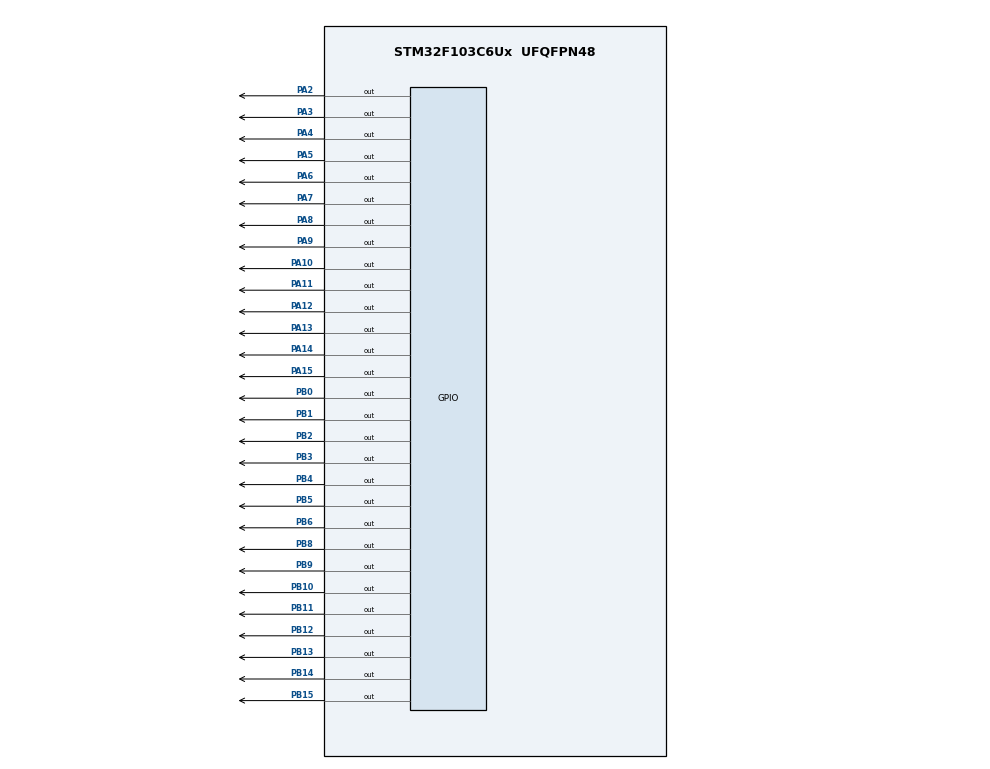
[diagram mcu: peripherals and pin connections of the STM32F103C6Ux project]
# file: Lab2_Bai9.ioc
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Mcu.Family=STM32F1
Mcu.Name=STM32F103C6Ux
Mcu.Package=UFQFPN48
NVIC.PriorityGroup=NVIC_PRIORITYGROUP_4
NVIC.TIM2_IRQn=true\:0\:0\:false\:false\:true\:true\:true
PA10.Signal=GPIO_Output
PA11.Signal=GPIO_Output
PA12.Signal=GPIO_Output
PA13.Signal=GPIO_Output
PA14.Signal=GPIO_Output
PA15.Signal=GPIO_Output
PA2.Signal=GPIO_Output
PA3.Signal=GPIO_Output
PA4.Signal=GPIO_Output
PA5.Signal=GPIO_Output
PA6.Signal=GPIO_Output
PA7.Signal=GPIO_Output
PA8.Signal=GPIO_Output
PA9.Signal=GPIO_Output
PB0.Signal=GPIO_Output
PB1.Signal=GPIO_Output
PB10.Signal=GPIO_Output
PB11.Signal=GPIO_Output
PB12.Signal=GPIO_Output
PB13.Signal=GPIO_Output
PB14.Signal=GPIO_Output
PB15.Signal=GPIO_Output
PB2.Signal=GPIO_Output
PB3.Signal=GPIO_Output
PB4.Signal=GPIO_Output
PB5.Signal=GPIO_Output
PB6.Signal=GPIO_Output
PB8.Signal=GPIO_Output
PB9.Signal=GPIO_Output
ProjectManager.HeapSize=0x200
ProjectManager.StackSize=0x400
ProjectManager.TargetToolchain=STM32CubeIDE
RCC.APB1Freq_Value=8000000
RCC.APB2Freq_Value=8000000
TIM2.Period=9
TIM2.Prescaler=7999
VP_SYS_VS_ND.Mode=No_Debug
VP_TIM2_VS_ClockSourceINT.Mode=Internal
board=custom

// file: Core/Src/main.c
/* USER CODE BEGIN Header */
/**
  ******************************************************************************
  * @file           : main.c
  * @brief          : Main program body
  ******************************************************************************
  * @attention
  *
  * <h2><center>&copy; Copyright (c) 2023 STMicroelectronics.
  * All rights reserved.</center></h2>
  *
  * This software component is licensed by ST under BSD 3-Clause license,
  * the "License"; You may not use this file except in compliance with the
  * License. You may obtain a copy of the License at:
  *                        opensource.org/licenses/BSD-3-Clause
  *
  ******************************************************************************
  */
/* USER CODE END Header */
#include "main.h"

/* USER CODE BEGIN Includes */
#include "sofware_timer.h"
/* USER CODE END Includes */

TIM_HandleTypeDef htim2;

void SystemClock_Config(void);
static void MX_GPIO_Init(void);
static void MX_TIM2_Init(void);

/* USER CODE BEGIN 0 */
const int MAX_LED_MATRIX = 8;
int index_led_matrix = 0;
uint8_t matrix_buffer[8] = {0b00011000 ,0b00111100 ,0b01100110 ,0b01100110 ,0b01111110 ,0b01111110 ,0b01100110 ,0b01100110};

void displayLEDMatrix(uint8_t matrix){
	HAL_GPIO_WritePin(GPIOA , GPIO_PIN_2, ( matrix >> 0) & 0x01 );
	HAL_GPIO_WritePin(GPIOA , GPIO_PIN_3, ( matrix >> 1) & 0x01 );
	HAL_GPIO_WritePin(GPIOA , GPIO_PIN_10, ( matrix >> 2) & 0x01 );
	HAL_GPIO_WritePin(GPIOA , GPIO_PIN_11, ( matrix >> 3) & 0x01 );
	HAL_GPIO_WritePin(GPIOA , GPIO_PIN_12, ( matrix >> 4) & 0x01 );
	HAL_GPIO_WritePin(GPIOA , GPIO_PIN_13, ( matrix >> 5) & 0x01 );
	HAL_GPIO_WritePin(GPIOA , GPIO_PIN_14, ( matrix >> 6) & 0x01 );
	HAL_GPIO_WritePin(GPIOA , GPIO_PIN_15, ( matrix >> 7) & 0x01 );
}

void updateLEDMatrix(int index ){
	switch(index){
		case 0:
			HAL_GPIO_WritePin(GPIOB, GPIO_PIN_8, RESET);
			HAL_GPIO_WritePin(GPIOB, GPIO_PIN_9,SET);
			HAL_GPIO_WritePin(GPIOB, GPIO_PIN_10,SET);
			HAL_GPIO_WritePin(GPIOB, GPIO_PIN_11,SET);
			HAL_GPIO_WritePin(GPIOB, GPIO_PIN_12,SET);
			HAL_GPIO_WritePin(GPIOB, GPIO_PIN_13,SET);
			HAL_GPIO_WritePin(GPIOB, GPIO_PIN_14,SET);
			HAL_GPIO_WritePin(GPIOB, GPIO_PIN_15,SET);
			displayLEDMatrix(matrix_buffer[index]);
			break;
		case 1:
			HAL_GPIO_WritePin(GPIOB, GPIO_PIN_8, SET);
			HAL_GPIO_WritePin(GPIOB, GPIO_PIN_9,RESET);
			HAL_GPIO_WritePin(GPIOB, GPIO_PIN_10,SET);
			HAL_GPIO_WritePin(GPIOB, GPIO_PIN_11,SET);
			HAL_GPIO_WritePin(GPIOB, GPIO_PIN_12,SET);
			HAL_GPIO_WritePin(GPIOB, GPIO_PIN_13,SET);
			HAL_GPIO_WritePin(GPIOB, GPIO_PIN_14,SET);
			HAL_GPIO_WritePin(GPIOB, GPIO_PIN_15,SET);
			displayLEDMatrix(matrix_buffer[index]);
			break;
		case 2:
			HAL_GPIO_WritePin(GPIOB, GPIO_PIN_8, SET);
			HAL_GPIO_WritePin(GPIOB, GPIO_PIN_9,SET);
			HAL_GPIO_WritePin(GPIOB, GPIO_PIN_10,RESET);
			HAL_GPIO_WritePin(GPIOB, GPIO_PIN_11,SET);
			HAL_GPIO_WritePin(GPIOB, GPIO_PIN_12,SET);
			HAL_GPIO_WritePin(GPIOB, GPIO_PIN_13,SET);
			HAL_GPIO_WritePin(GPIOB, GPIO_PIN_14,SET);
			HAL_GPIO_WritePin(GPIOB, GPIO_PIN_15,SET);
			displayLEDMatrix(matrix_buffer[index]);
			break;
		case 3:
			HAL_GPIO_WritePin(GPIOB, GPIO_PIN_8, SET);
			HAL_GPIO_WritePin(GPIOB, GPIO_PIN_9,SET);
			HAL_GPIO_WritePin(GPIOB, GPIO_PIN_10,SET);
			HAL_GPIO_WritePin(GPIOB, GPIO_PIN_11,RESET);
			HAL_GPIO_WritePin(GPIOB, GPIO_PIN_12,SET);
			HAL_GPIO_WritePin(GPIOB, GPIO_PIN_13,SET);
			HAL_GPIO_WritePin(GPIOB, GPIO_PIN_14,SET);
			HAL_GPIO_WritePin(GPIOB, GPIO_PIN_15,SET);
			displayLEDMatrix(matrix_buffer[index]);
			break;
		case 4:
			HAL_GPIO_WritePin(GPIOB, GPIO_PIN_8, SET);
			HAL_GPIO_WritePin(GPIOB, GPIO_PIN_9,SET);
			HAL_GPIO_WritePin(GPIOB, GPIO_PIN_10,SET);
			HAL_GPIO_WritePin(GPIOB, GPIO_PIN_11,SET);
			HAL_GPIO_WritePin(GPIOB, GPIO_PIN_12,RESET);
			HAL_GPIO_WritePin(GPIOB, GPIO_PIN_13,SET);
			HAL_GPIO_WritePin(GPIOB, GPIO_PIN_14,SET);
			HAL_GPIO_WritePin(GPIOB, GPIO_PIN_15,SET);
			displayLEDMatrix(matrix_buffer[index]);
			break;
		case 5:
			HAL_GPIO_WritePin(GPIOB, GPIO_PIN_8, SET);
			HAL_GPIO_WritePin(GPIOB, GPIO_PIN_9,SET);
			HAL_GPIO_WritePin(GPIOB, GPIO_PIN_10,SET);
			HAL_GPIO_WritePin(GPIOB, GPIO_PIN_11,SET);
			HAL_GPIO_WritePin(GPIOB, GPIO_PIN_12,SET);
			HAL_GPIO_WritePin(GPIOB, GPIO_PIN_13,RESET);
			HAL_GPIO_WritePin(GPIOB, GPIO_PIN_14,SET);
			HAL_GPIO_WritePin(GPIOB, GPIO_PIN_15,SET);
			displayLEDMatrix(matrix_buffer[index]);
			break;
		case 6:
			HAL_GPIO_WritePin(GPIOB, GPIO_PIN_8, SET);
			HAL_GPIO_WritePin(GPIOB, GPIO_PIN_9,SET);
			HAL_GPIO_WritePin(GPIOB, GPIO_PIN_10,SET);
			HAL_GPIO_WritePin(GPIOB, GPIO_PIN_11,SET);
			HAL_GPIO_WritePin(GPIOB, GPIO_PIN_12,SET);
			HAL_GPIO_WritePin(GPIOB, GPIO_PIN_13,SET);
			HAL_GPIO_WritePin(GPIOB, GPIO_PIN_14,RESET);
			HAL_GPIO_WritePin(GPIOB, GPIO_PIN_15,SET);
			break;
		case 7:
			HAL_GPIO_WritePin(GPIOB, GPIO_PIN_8, SET);
			HAL_GPIO_WritePin(GPIOB, GPIO_PIN_9,SET);
			HAL_GPIO_WritePin(GPIOB, GPIO_PIN_10,SET);
			HAL_GPIO_WritePin(GPIOB, GPIO_PIN_11,SET);
			HAL_GPIO_WritePin(GPIOB, GPIO_PIN_12,SET);
			HAL_GPIO_WritePin(GPIOB, GPIO_PIN_13,SET);
			HAL_GPIO_WritePin(GPIOB, GPIO_PIN_14,SET);
			HAL_GPIO_WritePin(GPIOB, GPIO_PIN_15,RESET);
			displayLEDMatrix(matrix_buffer[index]);
			break;
	}
}

void shiftLeft(){
	uint8_t check;
	for (int i = 0; i < 8; i++){
		check = matrix_buffer[i] >> 7;
		matrix_buffer[i] = matrix_buffer[i] << 1;
		matrix_buffer[i] = matrix_buffer[i] | check;
	}
}
/* USER CODE END 0 */

int main(void)
{

  /* MCU Configuration--------------------------------------------------------*/

  /* Reset of all peripherals, Initializes the Flash interface and the Systick. */
  HAL_Init();

  /* Configure the system clock */
  SystemClock_Config();

  /* Initialize all configured peripherals */
  MX_GPIO_Init();
  MX_TIM2_Init();
  /* USER CODE BEGIN 2 */
  HAL_TIM_Base_Start_IT(&htim2);
  /* USER CODE END 2 */

  /* Infinite loop */
  /* USER CODE BEGIN WHILE */
  setTimer1(100);
  int rowEn = 0;
  while (1)
  {
	  if(rowEn <=7){
		  updateLEDMatrix(rowEn);
		  rowEn++;
		  setTimer1(10);
		  if(rowEn > 7){
			  rowEn = 0;
			  shiftLeft();
			  setTimer1(100);
		  }
	  }
    /* USER CODE END WHILE */

  }
}

void SystemClock_Config(void)
{
  RCC_OscInitTypeDef RCC_OscInitStruct = {0};
  RCC_ClkInitTypeDef RCC_ClkInitStruct = {0};

  /** Initializes the RCC Oscillators according to the specified parameters
  * in the RCC_OscInitTypeDef structure.
  */
  RCC_OscInitStruct.OscillatorType = RCC_OSCILLATORTYPE_HSI;
  RCC_OscInitStruct.HSIState = RCC_HSI_ON;
  RCC_OscInitStruct.HSICalibrationValue = RCC_HSICALIBRATION_DEFAULT;
  RCC_OscInitStruct.PLL.PLLState = RCC_PLL_NONE;
  if (HAL_RCC_OscConfig(&RCC_OscInitStruct) != HAL_OK)
  {
    Error_Handler();
  }
  /** Initializes the CPU, AHB and APB buses clocks
  */
  RCC_ClkInitStruct.ClockType = RCC_CLOCKTYPE_HCLK|RCC_CLOCKTYPE_SYSCLK
                              |RCC_CLOCKTYPE_PCLK1|RCC_CLOCKTYPE_PCLK2;
  RCC_ClkInitStruct.SYSCLKSource = RCC_SYSCLKSOURCE_HSI;
  RCC_ClkInitStruct.AHBCLKDivider = RCC_SYSCLK_DIV1;
  RCC_ClkInitStruct.APB1CLKDivider = RCC_HCLK_DIV1;
  RCC_ClkInitStruct.APB2CLKDivider = RCC_HCLK_DIV1;

  if (HAL_RCC_ClockConfig(&RCC_ClkInitStruct, FLASH_LATENCY_0) != HAL_OK)
  {
    Error_Handler();
  }
}

static void MX_TIM2_Init(void)
{

  TIM_ClockConfigTypeDef sClockSourceConfig = {0};
  TIM_MasterConfigTypeDef sMasterConfig = {0};

  htim2.Instance = TIM2;
  htim2.Init.Prescaler = 7999;
  htim2.Init.CounterMode = TIM_COUNTERMODE_UP;
  htim2.Init.Period = 9;
  htim2.Init.ClockDivision = TIM_CLOCKDIVISION_DIV1;
  htim2.Init.AutoReloadPreload = TIM_AUTORELOAD_PRELOAD_DISABLE;
  if (HAL_TIM_Base_Init(&htim2) != HAL_OK)
  {
    Error_Handler();
  }
  sClockSourceConfig.ClockSource = TIM_CLOCKSOURCE_INTERNAL;
  if (HAL_TIM_ConfigClockSource(&htim2, &sClockSourceConfig) != HAL_OK)
  {
    Error_Handler();
  }
  sMasterConfig.MasterOutputTrigger = TIM_TRGO_RESET;
  sMasterConfig.MasterSlaveMode = TIM_MASTERSLAVEMODE_DISABLE;
  if (HAL_TIMEx_MasterConfigSynchronization(&htim2, &sMasterConfig) != HAL_OK)
  {
    Error_Handler();
  }

}

static void MX_GPIO_Init(void)
{
  GPIO_InitTypeDef GPIO_InitStruct = {0};

  /* GPIO Ports Clock Enable */
  __HAL_RCC_GPIOA_CLK_ENABLE();
  __HAL_RCC_GPIOB_CLK_ENABLE();

  /*Configure GPIO pin Output Level */
  HAL_GPIO_WritePin(GPIOA, GPIO_PIN_2|GPIO_PIN_3|GPIO_PIN_4|GPIO_PIN_5
                          |GPIO_PIN_6|GPIO_PIN_7|GPIO_PIN_8|GPIO_PIN_9
                          |GPIO_PIN_10|GPIO_PIN_11|GPIO_PIN_12|GPIO_PIN_13
                          |GPIO_PIN_14|GPIO_PIN_15, GPIO_PIN_RESET);

  /*Configure GPIO pin Output Level */
  HAL_GPIO_WritePin(GPIOB, GPIO_PIN_0|GPIO_PIN_1|GPIO_PIN_2|GPIO_PIN_10
                          |GPIO_PIN_11|GPIO_PIN_12|GPIO_PIN_13|GPIO_PIN_14
                          |GPIO_PIN_15|GPIO_PIN_3|GPIO_PIN_4|GPIO_PIN_5
                          |GPIO_PIN_6|GPIO_PIN_8|GPIO_PIN_9, GPIO_PIN_RESET);

  /*Configure GPIO pins : PA2 PA3 PA4 PA5
                           PA6 PA7 PA8 PA9
                           PA10 PA11 PA12 PA13
                           PA14 PA15 */
  GPIO_InitStruct.Pin = GPIO_PIN_2|GPIO_PIN_3|GPIO_PIN_4|GPIO_PIN_5
                          |GPIO_PIN_6|GPIO_PIN_7|GPIO_PIN_8|GPIO_PIN_9
                          |GPIO_PIN_10|GPIO_PIN_11|GPIO_PIN_12|GPIO_PIN_13
                          |GPIO_PIN_14|GPIO_PIN_15;
  GPIO_InitStruct.Mode = GPIO_MODE_OUTPUT_PP;
  GPIO_InitStruct.Pull = GPIO_NOPULL;
  GPIO_InitStruct.Speed = GPIO_SPEED_FREQ_LOW;
  HAL_GPIO_Init(GPIOA, &GPIO_InitStruct);

  /*Configure GPIO pins : PB0 PB1 PB2 PB10
                           PB11 PB12 PB13 PB14
                           PB15 PB3 PB4 PB5
                           PB6 PB8 PB9 */
  GPIO_InitStruct.Pin = GPIO_PIN_0|GPIO_PIN_1|GPIO_PIN_2|GPIO_PIN_10
                          |GPIO_PIN_11|GPIO_PIN_12|GPIO_PIN_13|GPIO_PIN_14
                          |GPIO_PIN_15|GPIO_PIN_3|GPIO_PIN_4|GPIO_PIN_5
                          |GPIO_PIN_6|GPIO_PIN_8|GPIO_PIN_9;
  GPIO_InitStruct.Mode = GPIO_MODE_OUTPUT_PP;
  GPIO_InitStruct.Pull = GPIO_NOPULL;
  GPIO_InitStruct.Speed = GPIO_SPEED_FREQ_LOW;
  HAL_GPIO_Init(GPIOB, &GPIO_InitStruct);

}

/* USER CODE BEGIN 4 */
void HAL_TIM_PeriodElapsedCallback(TIM_HandleTypeDef *htim){
	timerRun();
}
/* USER CODE END 4 */

void Error_Handler(void)
{
  __disable_irq();
  while (1)
  {
  }
}

/************************ (C) COPYRIGHT STMicroelectronics *****END OF FILE****/
